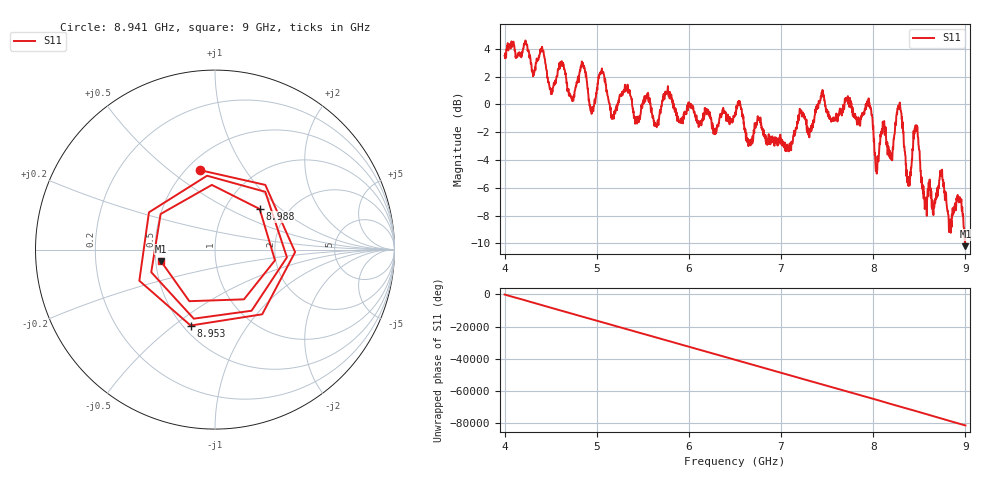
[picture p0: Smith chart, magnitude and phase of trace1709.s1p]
! Created with skrf 1.8.0 (http://scikit-rf.org).
# Hz S RI R 50.0
!freq ReS11 ImS11
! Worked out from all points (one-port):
!   1601 points, 4 GHz to 9 GHz, reference 50 ohm
!   lowest |S11| = -10.2 dB at 9 GHz (marker M1), VSWR 1.89, Z = 26.6 - j3.71 ohm
!   |S11| at or under -10 dB: 8.998171 GHz to end of sweep
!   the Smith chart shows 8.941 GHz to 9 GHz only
!   S11 on the Smith chart (normalised r, x): 8.941 GHz: 0.58, +0.65; 8.953 GHz: 0.55, -0.58; 8.988 GHz: 1.44, +0.74; 9 GHz: 0.53, -0.07
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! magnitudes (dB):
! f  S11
! 4 GHz  3.5
! 4.406 GHz  4.2
! 4.506 GHz  0.8
! 4.625 GHz  2.8
! 4.722 GHz  0.5
! 4.844 GHz  3.0
! 4.944 GHz  -0.7
! 5.05 GHz  2.4
! 5.169 GHz  -0.9
! 5.25 GHz  0.7
! 5.875 GHz  -1.1
! 6.5 GHz  -0.7
! 7.125 GHz  -2.7
! 7.441 GHz  0.9
! 7.75 GHz  0.1
! 7.956 GHz  0.2
! 8.038 GHz  -5.0
! 8.109 GHz  -1.3
! 8.197 GHz  -4.0
! 8.288 GHz  0.1
! 8.375 GHz  -5.5
! 8.462 GHz  -1.8
! 8.562 GHz  -7.3
! 8.741 GHz  -4.8
! 8.941 GHz  -6.9
! 8.953 GHz  -7.0
! 8.988 GHz  -9.5
! 9 GHz  -10.2
